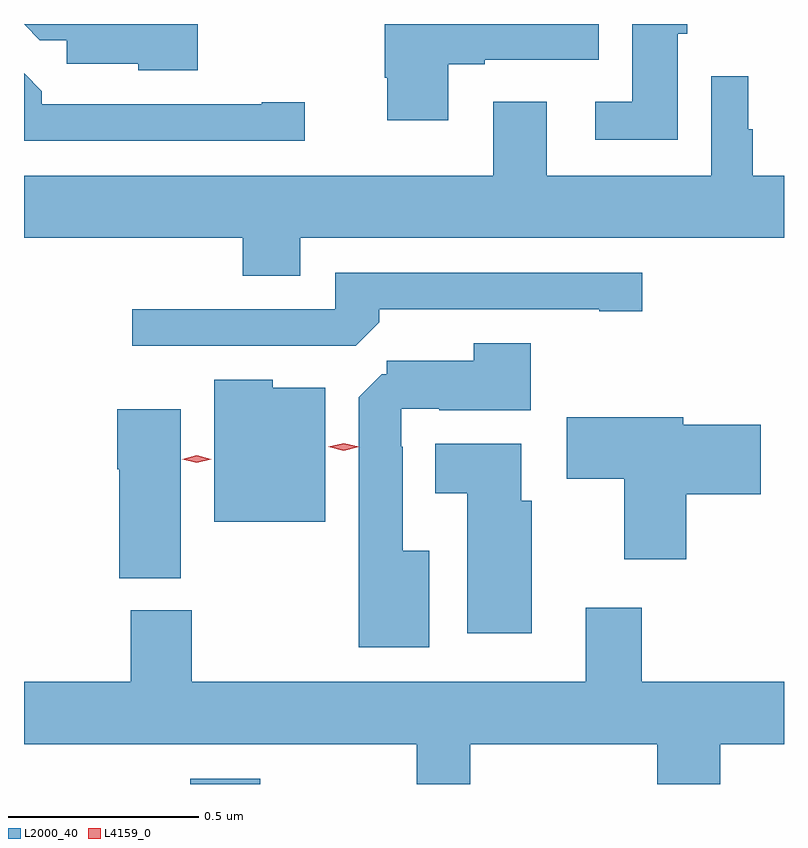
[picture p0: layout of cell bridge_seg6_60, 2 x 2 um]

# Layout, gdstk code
import gdstk
lib = gdstk.Library(unit=1e-6, precision=1e-09)
def R(c, l, rs):  # rectangles x0, y0, x1, y1
    for r in rs: c.add(gdstk.rectangle(r[:2], r[2:], *l))
def P(c, l, *ps):  # polygons
    for p in ps: c.add(gdstk.Polygon(p, *l))
L2000_40 = (2000, 40)
L4159_0 = (4159, 0)

bridge_seg6_60 = lib.new_cell('bridge_seg6_60')
R(bridge_seg6_60, L2000_40, [(1081.049,985.859,1081.234,985.873)])
P(bridge_seg6_60, L2000_40, [(1081.069,987.859),(1080.612,987.859),(1080.612,987.858),(1080.654,987.816),(1080.725,987.816),(1080.725,987.755),(1080.912,987.755),(1080.912,987.737),(1081.069,987.737)],
  [(1081.729,987.753),(1081.825,987.753),(1081.825,987.765),(1082.125,987.765),(1082.125,987.859),(1081.568,987.859),(1081.568,987.858),(1081.561,987.858),(1081.561,987.718),(1081.568,987.718),(1081.568,987.606),(1081.729,987.606)],
  [(1082.332,987.834),(1082.358,987.834),(1082.358,987.859),(1082.213,987.859),(1082.213,987.655),(1082.115,987.655),(1082.115,987.554),(1082.332,987.554)],
  [(1081.351,987.653),(1081.238,987.653),(1081.238,987.648),(1080.659,987.648),(1080.659,987.682),(1080.612,987.729),(1080.612,987.552),(1081.351,987.552)],
  [(1081.339,987.296),(1082.612,987.296),(1082.612,987.46),(1082.53,987.46),(1082.53,987.582),(1082.518,987.582),(1082.518,987.721),(1082.421,987.721),(1082.421,987.46),(1081.987,987.46),(1081.987,987.655),(1081.847,987.655),(1081.847,987.46),(1080.612,987.46),(1080.612,987.296),(1081.187,987.296),(1081.187,987.197),(1081.339,987.197)],
  [(1081.547,987.074),(1081.547,987.108),(1082.126,987.108),(1082.126,987.103),(1082.239,987.103),(1082.239,987.204),(1081.431,987.204),(1081.431,987.108),(1080.897,987.108),(1080.897,987.012),(1081.485,987.012)],
  [(1081.678,986.473),(1081.609,986.473),(1081.609,986.747),(1081.605,986.747),(1081.605,986.847),(1081.705,986.847),(1081.705,986.843),(1081.945,986.843),(1081.945,987.019),(1081.796,987.019),(1081.796,986.973),(1081.566,986.973),(1081.566,986.937),(1081.553,986.937),(1081.493,986.877),(1081.493,986.219),(1081.678,986.219)],
  [(1081.405,986.902),(1081.266,986.902),(1081.266,986.923),(1081.112,986.923),(1081.112,986.549),(1081.405,986.549)],
  [(1081.024,986.845),(1080.857,986.845),(1080.857,986.687),(1080.862,986.687),(1080.862,986.401),(1081.024,986.401)],
  [(1082.355,986.621),(1082.551,986.621),(1082.551,986.804),(1082.347,986.804),(1082.347,986.824),(1082.04,986.824),(1082.04,986.662),(1082.192,986.662),(1082.192,986.451),(1082.355,986.451)],
  [(1081.948,986.604),(1081.921,986.604),(1081.921,986.755),(1081.694,986.755),(1081.694,986.624),(1081.778,986.624),(1081.778,986.256),(1081.948,986.256)],
  [(1081.786,985.964),(1082.279,985.964),(1082.279,985.859),(1082.444,985.859),(1082.444,985.964),(1082.612,985.964),(1082.612,986.128),(1082.238,986.128),(1082.238,986.323),(1082.09,986.323),(1082.09,986.128),(1081.053,986.128),(1081.053,986.316),(1080.893,986.316),(1080.893,986.128),(1080.612,986.128),(1080.612,985.964),(1081.646,985.964),(1081.646,985.859),(1081.786,985.859)])
P(bridge_seg6_60, L4159_0, [(1081.067,986.704),(1081.029,986.713),(1081.029,986.714),(1081.029,986.714),(1081.067,986.724),(1081.105,986.714),(1081.105,986.714),(1081.105,986.713)],
  [(1081.453,986.736),(1081.412,986.746),(1081.412,986.746),(1081.412,986.746),(1081.453,986.756),(1081.494,986.746),(1081.494,986.746),(1081.494,986.746)])

lib.write_gds('bridge_seg6_60.gds')
